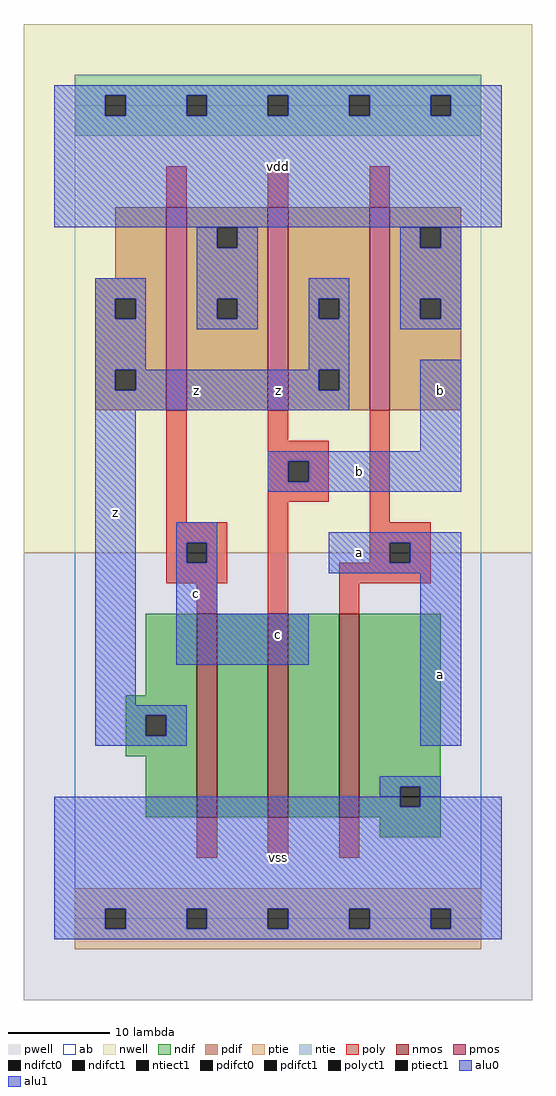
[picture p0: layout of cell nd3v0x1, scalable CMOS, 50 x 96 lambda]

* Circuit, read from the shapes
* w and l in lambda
.subckt nd3v0x1 a b c vdd vss z
M1 n1 c z vss nfet w=20 l=2
M2 n2 b n1 vss nfet w=20 l=2
M3 vss a n2 vss nfet w=20 l=2
M4 vdd c z vdd pfet w=20 l=2
M5 z b vdd vdd pfet w=20 l=2
M6 vdd a z vdd pfet w=20 l=2
.ends

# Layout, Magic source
magic
tech scmos
<< ab >>
rect 0 0 40 80
<< nwell >>
rect -5 36 45 88
<< pwell >>
rect -5 -8 45 36
<< poly >>
rect 9 70 11 74
rect 19 70 21 74
rect 29 70 31 74
rect 9 39 11 50
rect 19 47 21 50
rect 19 45 25 47
rect 19 43 21 45
rect 23 43 25 45
rect 19 41 25 43
rect 9 37 15 39
rect 9 35 11 37
rect 13 35 15 37
rect 9 33 15 35
rect 12 30 14 33
rect 19 30 21 41
rect 29 39 31 50
rect 29 37 35 39
rect 29 35 31 37
rect 33 35 35 37
rect 26 33 35 35
rect 26 30 28 33
rect 12 6 14 10
rect 19 6 21 10
rect 26 6 28 10
<< ndif >>
rect 7 22 12 30
rect 5 20 12 22
rect 5 18 7 20
rect 9 18 12 20
rect 5 16 12 18
rect 7 10 12 16
rect 14 10 19 30
rect 21 10 26 30
rect 28 13 36 30
rect 28 11 32 13
rect 34 11 36 13
rect 28 10 36 11
rect 30 8 36 10
<< pdif >>
rect 4 63 9 70
rect 2 61 9 63
rect 2 59 4 61
rect 6 59 9 61
rect 2 54 9 59
rect 2 52 4 54
rect 6 52 9 54
rect 2 50 9 52
rect 11 68 19 70
rect 11 66 14 68
rect 16 66 19 68
rect 11 61 19 66
rect 11 59 14 61
rect 16 59 19 61
rect 11 50 19 59
rect 21 61 29 70
rect 21 59 24 61
rect 26 59 29 61
rect 21 54 29 59
rect 21 52 24 54
rect 26 52 29 54
rect 21 50 29 52
rect 31 68 38 70
rect 31 66 34 68
rect 36 66 38 68
rect 31 61 38 66
rect 31 59 34 61
rect 36 59 38 61
rect 31 50 38 59
<< alu1 >>
rect -2 81 42 82
rect -2 79 3 81
rect 5 79 11 81
rect 13 79 19 81
rect 21 79 27 81
rect 29 79 35 81
rect 37 79 42 81
rect -2 68 42 79
rect 2 61 7 63
rect 2 59 4 61
rect 6 59 7 61
rect 2 54 7 59
rect 23 61 27 63
rect 23 59 24 61
rect 26 59 27 61
rect 23 54 27 59
rect 2 52 4 54
rect 6 52 24 54
rect 26 52 27 54
rect 2 50 27 52
rect 2 21 6 50
rect 34 46 38 55
rect 19 45 38 46
rect 19 43 21 45
rect 23 43 38 45
rect 19 42 38 43
rect 10 37 14 39
rect 10 35 11 37
rect 13 35 14 37
rect 10 30 14 35
rect 25 37 38 38
rect 25 35 31 37
rect 33 35 38 37
rect 25 34 38 35
rect 10 25 23 30
rect 2 20 11 21
rect 2 18 7 20
rect 9 18 11 20
rect 2 17 11 18
rect 34 17 38 34
rect -2 11 32 12
rect 34 11 42 12
rect -2 1 42 11
rect -2 -1 3 1
rect 5 -1 11 1
rect 13 -1 19 1
rect 21 -1 27 1
rect 29 -1 35 1
rect 37 -1 42 1
rect -2 -2 42 -1
<< ptie >>
rect 0 1 40 3
rect 0 -1 3 1
rect 5 -1 11 1
rect 13 -1 19 1
rect 21 -1 27 1
rect 29 -1 35 1
rect 37 -1 40 1
rect 0 -3 40 -1
<< ntie >>
rect 0 81 40 83
rect 0 79 3 81
rect 5 79 11 81
rect 13 79 19 81
rect 21 79 27 81
rect 29 79 35 81
rect 37 79 40 81
rect 0 77 40 79
<< nmos >>
rect 12 10 14 30
rect 19 10 21 30
rect 26 10 28 30
<< pmos >>
rect 9 50 11 70
rect 19 50 21 70
rect 29 50 31 70
<< polyct1 >>
rect 21 43 23 45
rect 11 35 13 37
rect 31 35 33 37
<< ndifct0 >>
rect 32 12 34 13
<< ndifct1 >>
rect 7 18 9 20
rect 32 11 34 12
<< ntiect1 >>
rect 3 79 5 81
rect 11 79 13 81
rect 19 79 21 81
rect 27 79 29 81
rect 35 79 37 81
<< ptiect1 >>
rect 3 -1 5 1
rect 11 -1 13 1
rect 19 -1 21 1
rect 27 -1 29 1
rect 35 -1 37 1
<< pdifct0 >>
rect 14 66 16 68
rect 14 59 16 61
rect 34 66 36 68
rect 34 59 36 61
<< pdifct1 >>
rect 4 59 6 61
rect 4 52 6 54
rect 24 59 26 61
rect 24 52 26 54
<< alu0 >>
rect 12 66 14 68
rect 16 66 18 68
rect 12 61 18 66
rect 32 66 34 68
rect 36 66 38 68
rect 12 59 14 61
rect 16 59 18 61
rect 12 58 18 59
rect 32 61 38 66
rect 32 59 34 61
rect 36 59 38 61
rect 32 58 38 59
rect 30 13 36 14
rect 30 12 32 13
rect 34 12 36 13
<< labels >>
rlabel alu1 4 40 4 40 6 z
rlabel alu1 12 32 12 32 6 c
rlabel alu1 12 52 12 52 6 z
rlabel alu1 20 6 20 6 6 vss
rlabel alu1 20 28 20 28 6 c
rlabel alu1 28 36 28 36 6 a
rlabel alu1 28 44 28 44 6 b
rlabel alu1 20 52 20 52 6 z
rlabel alu1 20 74 20 74 6 vdd
rlabel alu1 36 24 36 24 6 a
rlabel alu1 36 52 36 52 6 b
<< end >>
